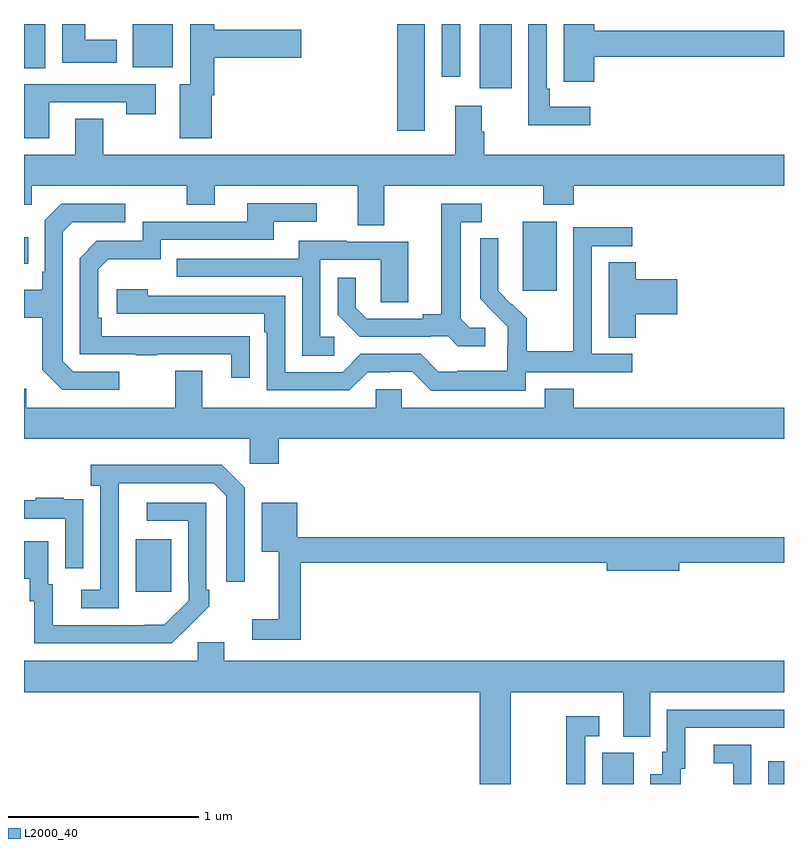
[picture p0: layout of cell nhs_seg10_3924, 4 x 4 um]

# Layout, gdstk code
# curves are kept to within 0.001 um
import gdstk
lib = gdstk.Library(unit=1e-6, precision=1e-09)
def R(c, l, rs):  # rectangles x0, y0, x1, y1
    for r in rs: c.add(gdstk.rectangle(r[:2], r[2:], *l))
def P(c, l, *ps):  # polygons
    for p in ps: c.add(gdstk.Polygon(p, *l))
L2000_40 = (2000, 40)

nhs_seg10_3924 = lib.new_cell('nhs_seg10_3924')
R(nhs_seg10_3924, L2000_40, [(330.044,1298.5,330.208,1298.664), (330.917,1298.5,331,1298.62), (327.587,1299.513,327.775,1299.787), (329.624,1301.097,329.803,1301.458), (327,1301.237,327.023,1301.377), (328.964,1301.937,329.11,1302.5), (329.399,1302.162,329.566,1302.5), (329.199,1302.222,329.295,1302.5), (327,1302.268,327.112,1302.5), (327.572,1302.272,327.784,1302.5)])
P(nhs_seg10_3924, L2000_40, [(330.002,1302.328),(331,1302.328),(331,1302.464),(330.002,1302.464),(330.002,1302.5),(329.84,1302.5),(329.84,1302.307),(329.841,1302.307),(329.841,1302.195),(330.002,1302.195)],
  [(327.487,1302.418),(327.322,1302.418),(327.322,1302.5),(327.2,1302.5),(327.2,1302.296),(327.487,1302.296)],
  [(329.98,1302.064),(329.767,1302.064),(329.767,1302.16),(329.751,1302.16),(329.751,1302.5),(329.655,1302.5),(329.655,1301.966),(329.98,1301.966)],
  [(327.988,1302.125),(328.001,1302.125),(328.001,1302.323),(328.459,1302.323),(328.459,1302.47),(328.001,1302.47),(328.001,1302.5),(327.875,1302.5),(327.875,1302.184),(327.821,1302.184),(327.821,1301.898),(327.988,1301.898)],
  [(327.133,1302.087),(327.538,1302.087),(327.538,1302.024),(327.694,1302.024),(327.694,1302.183),(327,1302.183),(327,1301.898),(327.133,1301.898)],
  [(329.423,1301.933),(329.41,1301.933),(329.41,1302.07),(329.27,1302.07),(329.27,1301.812),(327.417,1301.812),(327.417,1302.002),(327.269,1302.002),(327.269,1301.812),(327,1301.812),(327,1301.549),(327.042,1301.549),(327.042,1301.648),(327.856,1301.648),(327.856,1301.549),(328.003,1301.549),(328.003,1301.648),(328.757,1301.648),(328.757,1301.44),(328.897,1301.44),(328.897,1301.648),(329.734,1301.648),(329.734,1301.549),(329.894,1301.549),(329.894,1301.648),(331,1301.648),(331,1301.812),(329.423,1301.812)],
  [(328.187,1300.856),(327.41,1300.857),(327.41,1300.954),(327.39,1300.954),(327.39,1301.208),(327.443,1301.261),(327.72,1301.261),(327.72,1301.364),(328.315,1301.364),(328.315,1301.46),(328.54,1301.46),(328.54,1301.556),(328.175,1301.556),(328.175,1301.46),(327.624,1301.46),(327.624,1301.358),(327.384,1301.358),(327.294,1301.268),(327.294,1300.761),(327.589,1300.761),(327.589,1300.756),(327.701,1300.756),(327.701,1300.761),(328.091,1300.761),(328.091,1300.638),(328.187,1300.638)],
  [(327.502,1300.671),(327.258,1300.671),(327.204,1300.725),(327.204,1301.406),(327.255,1301.457),(327.532,1301.457),(327.532,1301.553),(327.195,1301.553),(327.108,1301.466),(327.108,1301.197),(327.096,1301.197),(327.096,1301.101),(327,1301.101),(327,1300.954),(327.096,1300.954),(327.096,1300.681),(327.201,1300.575),(327.502,1300.575)],
  [(329.428,1300.902),(329.346,1300.902),(329.299,1300.949),(329.299,1301.457),(329.41,1301.457),(329.41,1301.553),(329.195,1301.553),(329.195,1300.973),(329.099,1300.973),(329.099,1300.95),(328.804,1300.95),(328.747,1301.007),(328.747,1301.164),(328.65,1301.164),(328.65,1300.97),(328.766,1300.854),(329.138,1300.854),(329.138,1300.857),(329.232,1300.857),(329.284,1300.805),(329.428,1300.805)],
  [(329.64,1300.668),(330.202,1300.668),(330.202,1300.764),(329.988,1300.764),(329.988,1301.331),(330.202,1301.331),(330.202,1301.43),(329.892,1301.43),(329.892,1301),(329.89,1301),(329.89,1300.777),(329.645,1300.777),(329.645,1300.951),(329.568,1301.028),(329.565,1301.025),(329.495,1301.096),(329.496,1301.372),(329.4,1301.372),(329.4,1301.054),(329.546,1300.906),(329.546,1300.809),(329.544,1300.809),(329.544,1300.675),(329.281,1300.675),(329.281,1300.671),(329.181,1300.671),(329.088,1300.764),(328.773,1300.764),(328.677,1300.668),(328.374,1300.668),(328.374,1301.07),(327.65,1301.07),(327.65,1301.104),(327.489,1301.104),(327.489,1300.974),(328.265,1300.974),(328.265,1300.877),(328.278,1300.877),(328.278,1300.572),(328.713,1300.572),(328.809,1300.668),(328.928,1300.668),(328.928,1300.671),(329.043,1300.671),(329.143,1300.571),(329.64,1300.571)],
  [(328.633,1300.854),(328.56,1300.854),(328.56,1301.259),(328.878,1301.259),(328.878,1301.035),(329.023,1301.035),(329.023,1301.355),(328.699,1301.355),(328.699,1301.359),(328.445,1301.359),(328.445,1301.265),(327.805,1301.265),(327.805,1301.169),(328.464,1301.169),(328.464,1300.753),(328.633,1300.753)],
  [(330.221,1300.973),(330.439,1300.973),(330.439,1301.156),(330.221,1301.156),(330.221,1301.246),(330.077,1301.246),(330.077,1300.849),(330.221,1300.849)],
  [(328.34,1300.316),(331,1300.316),(331,1300.48),(329.894,1300.48),(329.894,1300.579),(329.741,1300.579),(329.741,1300.48),(328.989,1300.48),(328.989,1300.578),(328.851,1300.578),(328.851,1300.48),(327.937,1300.48),(327.937,1300.675),(327.797,1300.675),(327.797,1300.48),(327.013,1300.48),(327.013,1300.579),(327,1300.579),(327,1300.316),(328.188,1300.316),(328.188,1300.185),(328.34,1300.185)],
  [(327.498,1299.883),(327.499,1300.083),(327.999,1300.083),(328.065,1300.017),(328.065,1299.564),(328.161,1299.564),(328.161,1300.059),(328.04,1300.18),(327.351,1300.18),(327.351,1300.07),(327.402,1300.07),(327.402,1299.522),(327.3,1299.522),(327.3,1299.426),(327.498,1299.426)],
  [(327.312,1299.89),(327.311,1299.89),(327.311,1299.999),(327.209,1299.999),(327.209,1300.006),(327.061,1300.006),(327.061,1299.993),(327,1299.993),(327,1299.897),(327.216,1299.897),(327.216,1299.636),(327.312,1299.636)],
  [(327.869,1299.331),(327.87,1299.33),(327.975,1299.435),(327.975,1299.523),(327.96,1299.523),(327.96,1299.981),(327.645,1299.981),(327.645,1299.885),(327.864,1299.885),(327.864,1299.565),(327.867,1299.565),(327.867,1299.465),(327.739,1299.337),(327.151,1299.336),(327.151,1299.552),(327.127,1299.552),(327.127,1299.778),(327,1299.778),(327,1299.581),(327.029,1299.581),(327.029,1299.462),(327.054,1299.462),(327.054,1299.24),(327.778,1299.24)],
  [(328.457,1299.664),(330.068,1299.664),(330.068,1299.622),(330.448,1299.622),(330.448,1299.664),(331,1299.664),(331,1299.8),(328.437,1299.8),(328.437,1299.979),(328.25,1299.979),(328.25,1299.722),(328.34,1299.722),(328.34,1299.367),(328.2,1299.367),(328.2,1299.258),(328.457,1299.258)],
  [(329.563,1298.984),(330.155,1298.984),(330.155,1298.749),(330.295,1298.749),(330.295,1298.984),(331,1298.984),(331,1299.148),(328.054,1299.148),(328.054,1299.246),(327.915,1299.246),(327.915,1299.148),(327,1299.148),(327,1298.984),(329.399,1298.984),(329.399,1298.5),(329.563,1298.5)],
  [(330.457,1298.58),(330.481,1298.58),(330.481,1298.796),(331,1298.796),(331,1298.892),(330.384,1298.892),(330.384,1298.67),(330.359,1298.67),(330.359,1298.551),(330.296,1298.551),(330.296,1298.5),(330.457,1298.5)],
  [(329.955,1298.751),(330.028,1298.751),(330.028,1298.857),(329.854,1298.857),(329.854,1298.5),(329.955,1298.5)],
  [(330.828,1298.706),(330.63,1298.706),(330.63,1298.61),(330.732,1298.61),(330.732,1298.5),(330.828,1298.5)])

lib.write_gds('nhs_seg10_3924.gds')
